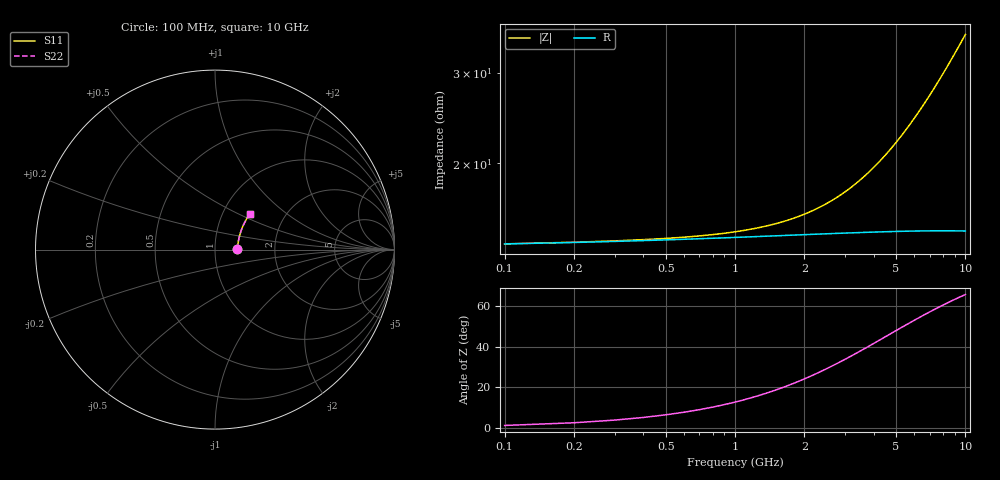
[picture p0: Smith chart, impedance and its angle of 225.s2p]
# Hz S RI R 50.00
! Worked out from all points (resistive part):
!   100 points, 100 MHz to 10 GHz, reference 50 ohm
!   read as one part in series: R = 13.9 ohm at 100 MHz
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1e8  0.1223 0.0022  0.8777 -0.0028  0.8777 -0.0028  0.1223 0.0022
2e8  0.123 0.0044  0.877 -0.0056  0.877 -0.0056  0.123 0.0044
3e8  0.1236 0.00659  0.8764 -0.00839  0.8764 -0.00839  0.1236 0.00659
8e8  0.1255 0.0175  0.8745 -0.0223  0.8745 -0.0223  0.1255 0.0175
1.1e9  0.1265 0.024  0.8735 -0.0306  0.8735 -0.0306  0.1265 0.024
1.4e9  0.1275 0.0305  0.8724 -0.0389  0.8724 -0.0389  0.1275 0.0305
1.8e9  0.1289 0.0391  0.871 -0.0499  0.871 -0.0499  0.1289 0.0391
2.1e9  0.1301 0.0455  0.8699 -0.0581  0.8699 -0.0581  0.1301 0.0455
2.5e9  0.1317 0.054  0.8682 -0.0691  0.8682 -0.0691  0.1317 0.054
2.9e9  0.1335 0.0625  0.8663 -0.08  0.8663 -0.08  0.1335 0.0625
3.4e9  0.136 0.073  0.8638 -0.0935  0.8638 -0.0935  0.136 0.073
4.3e9  0.1412 0.0917  0.8584 -0.1175  0.8584 -0.1175  0.1412 0.0917
5.1e9  0.1466 0.1079  0.8529 -0.1386  0.8529 -0.1386  0.1466 0.1079
5.9e9  0.1527 0.1238  0.8466 -0.1593  0.8466 -0.1593  0.1527 0.1238
6.7e9  0.1595 0.1392  0.8396 -0.1796  0.8396 -0.1796  0.1595 0.1392
7.2e9  0.1641 0.1487  0.8349 -0.1921  0.8349 -0.1921  0.1641 0.1487
7.6e9  0.168 0.1561  0.8309 -0.2019  0.8309 -0.2019  0.168 0.1561
8e9  0.172 0.1634  0.8267 -0.2116  0.8267 -0.2116  0.172 0.1634
8.4e9  0.1762 0.1706  0.8224 -0.2212  0.8224 -0.2212  0.1762 0.1706
8.8e9  0.1806 0.1776  0.8179 -0.2307  0.8179 -0.2307  0.1806 0.1776
9.2e9  0.1851 0.1845  0.8132 -0.24  0.8132 -0.24  0.1851 0.1845
1e10  0.1945 0.1979  0.8035 -0.2582  0.8035 -0.2582  0.1945 0.1979
